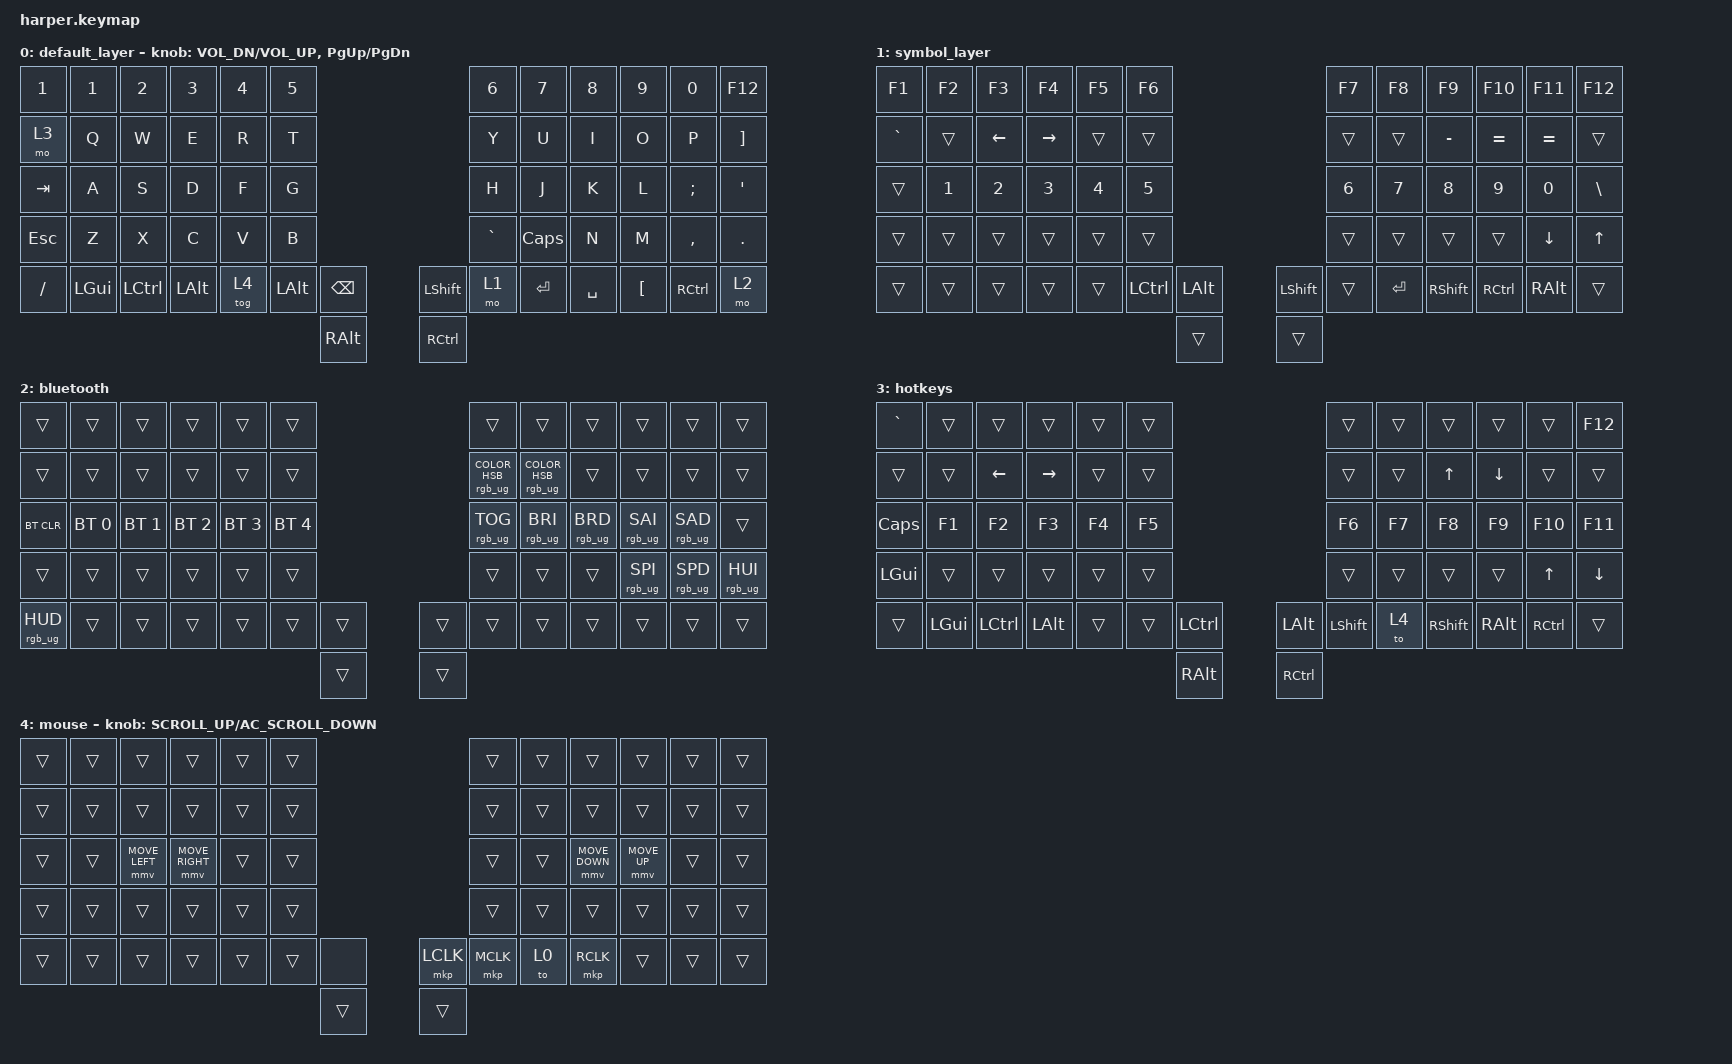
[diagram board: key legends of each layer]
#undef ZMK_BEHAVIORS_KEEP_ALL

#define ZMK_BEHAVIORS_KEEP_IND
#define ZMK_BEHAVIORS_KEEP_BT
#define ZMK_BEHAVIORS_KEEP_GRESC
#define ZMK_BEHAVIORS_KEEP_SYS_RESET
#define ZMK_BEHAVIORS_KEEP_BOOTLOADER
#define ZMK_BEHAVIORS_KEEP_CAPS_WORD
#define ZMK_BEHAVIORS_KEEP_KEY_REPEAT
#define ZMK_BEHAVIORS_KEEP_KT
#define ZMK_BEHAVIORS_KEEP_LT
#define ZMK_BEHAVIORS_KEEP_MT
#define ZMK_BEHAVIORS_KEEP_SK
#define ZMK_BEHAVIORS_KEEP_STICKY_LAYER
#define ZMK_BEHAVIORS_KEEP_TO
#define ZMK_BEHAVIORS_KEEP_TOG
#define ZMK_BEHAVIORS_KEEP_TRANS

#include <dt-bindings/zmk/indicators.h>
#include <behaviors.dtsi>
#include <dt-bindings/zmk/bt.h>
#include <dt-bindings/zmk/keys.h>
#include <dt-bindings/zmk/pointing.h>
#include <dt-bindings/zmk/rgb.h>

#define DEF 0
#define LWR 1
#define RSE 2
#define ADJ 3

&lt { quick_tap_ms = <200>; };

&mt { quick_tap_ms = <200>; };

/ {
    keymap {
        compatible = "zmk,keymap";

        default_layer {
            bindings = <
&kp N1    &kp N1    &kp N2     &kp N3    &kp N4  &kp N5              &kp N6     &kp N7    &kp N8     &kp N9     &kp N0     &kp F12
&mo 3     &kp Q     &kp W      &kp E     &kp R   &kp T               &kp Y      &kp U     &kp I      &kp O      &kp P      &kp RIGHT_BRACKET
&kp TAB   &kp A     &kp S      &kp D     &kp F   &kp G               &kp H      &kp J     &kp K      &kp L      &kp SEMI   &kp APOS
&kp ESC   &kp Z     &kp X      &kp C     &kp V   &kp B               &kp GRAVE  &kp CAPS  &kp N      &kp M      &kp COMMA  &kp DOT
&kp FSLH  &kp LGUI  &kp LCTRL  &kp LALT  &tog 4  &kp LALT  &kp BSPC  &kp LSHFT  &mo 1     &kp ENTER  &kp SPACE  &kp LBKT   &kp RCTRL          &mo 2
                                                                     &kp RALT                                                                 &kp RCTRL
            >;

            sensor-bindings =
                <&inc_dec_kp C_VOL_DN C_VOL_UP>,
                <&inc_dec_kp PAGE_UP PAGE_DOWN>;
        };

        symbol_layer {
            bindings = <
&kp F1     &kp F2  &kp F3    &kp F4     &kp F5  &kp F6               &kp F7     &kp F8  &kp F9     &kp F10    &kp F11    &kp F12
&kp GRAVE  &trans  &kp LEFT  &kp RIGHT  &trans  &trans               &trans     &trans  &kp MINUS  &kp EQUAL  &kp EQUAL  &trans
&trans     &kp N1  &kp N2    &kp N3     &kp N4  &kp N5               &kp N6     &kp N7  &kp N8     &kp N9     &kp N0     &kp BSLH
&trans     &trans  &trans    &trans     &trans  &trans               &trans     &trans  &trans     &trans     &kp DOWN   &kp UP
&trans     &trans  &trans    &trans     &trans  &kp LCTRL  &kp LALT  &kp LSHFT  &trans  &kp RET    &kp RSHFT  &kp RCTRL  &kp RALT  &trans
                                                                     &trans                                                        &trans
            >;
        };

        bluetooth {
            bindings = <
&trans           &trans        &trans        &trans        &trans        &trans                &trans                        &trans                          &trans           &trans           &trans           &trans
&trans           &trans        &trans        &trans        &trans        &trans                &rgb_ug RGB_COLOR_HSB(0,0,0)  &rgb_ug RGB_COLOR_HSB(0,0,100)  &trans           &trans           &trans           &trans
&bt BT_CLR       &bt BT_SEL 0  &bt BT_SEL 1  &bt BT_SEL 2  &bt BT_SEL 3  &bt BT_SEL 4          &rgb_ug RGB_TOG               &rgb_ug RGB_BRI                 &rgb_ug RGB_BRD  &rgb_ug RGB_SAI  &rgb_ug RGB_SAD  &trans
&trans           &trans        &trans        &trans        &trans        &trans                &trans                        &trans                          &trans           &rgb_ug RGB_SPI  &rgb_ug RGB_SPD  &rgb_ug RGB_HUI
&rgb_ug RGB_HUD  &trans        &trans        &trans        &trans        &trans        &trans  &trans                        &trans                          &trans           &trans           &trans           &trans           &trans
                                                                                               &trans                                                                                                                            &trans
            >;
        };

        hotkeys {
            bindings = <
&kp GRAVE  &trans    &trans     &trans     &trans  &trans             &trans    &trans     &trans  &trans     &trans    &kp F12
&trans     &trans    &kp LEFT   &kp RIGHT  &trans  &trans             &trans    &trans     &kp UP  &kp DOWN   &trans    &trans
&kp CAPS   &kp F1    &kp F2     &kp F3     &kp F4  &kp F5             &kp F6    &kp F7     &kp F8  &kp F9     &kp F10   &kp F11
&kp LGUI   &trans    &trans     &trans     &trans  &trans             &trans    &trans     &trans  &trans     &kp UP    &kp DOWN
&trans     &kp LGUI  &kp LCTRL  &kp LALT   &trans  &trans  &kp LCTRL  &kp LALT  &kp LSHFT  &to 4   &kp RSHFT  &kp RALT  &kp RCTRL  &trans
                                                                      &kp RALT                                                     &kp RCTRL
            >;
        };

        mouse {
            bindings = <
&trans  &trans  &trans          &trans           &trans  &trans         &trans     &trans     &trans          &trans        &trans  &trans
&trans  &trans  &trans          &trans           &trans  &trans         &trans     &trans     &trans          &trans        &trans  &trans
&trans  &trans  &mmv MOVE_LEFT  &mmv MOVE_RIGHT  &trans  &trans         &trans     &trans     &mmv MOVE_DOWN  &mmv MOVE_UP  &trans  &trans
&trans  &trans  &trans          &trans           &trans  &trans         &trans     &trans     &trans          &trans        &trans  &trans
&trans  &trans  &trans          &trans           &trans  &trans  &none  &mkp LCLK  &mkp MCLK  &to 0           &mkp RCLK     &trans  &trans  &trans
                                                                        &trans                                                              &trans
            >;

            sensor-bindings = <&inc_dec_kp K_SCROLL_UP C_AC_SCROLL_DOWN>;
        };
    };
};
